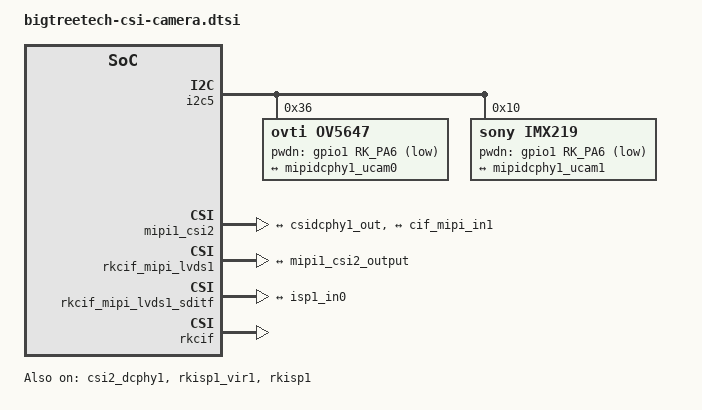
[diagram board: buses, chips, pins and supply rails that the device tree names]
// SPDX-License-Identifier: (GPL-2.0+ OR MIT)
/*
 * Copyright (c) 2021 Rockchip Electronics Co., Ltd.
 *
 */

&csi2_dcphy1 {
	status = "okay";

	ports {
		#address-cells = <1>;
		#size-cells = <0>;

		port@0 {
			reg = <0>;
			#address-cells = <1>;
			#size-cells = <0>;

			mipidcphy1_ucam0: endpoint@0 {
				reg = <0>;
				remote-endpoint = <&ov5647_out>;
				data-lanes = <1 2>;
			};

			mipidcphy1_ucam1: endpoint@1 {
				reg = <1>;
				remote-endpoint = <&imx219_out>;
				data-lanes = <1 2>;
			};
		};

		port@1 {
			reg = <1>;
			#address-cells = <1>;
			#size-cells = <0>;

			csidcphy1_out: endpoint@0 {
				reg = <0>;
				remote-endpoint = <&mipi1_csi2_input>;
			};
		};
	};
};

&i2c5 {
	status = "okay";
	pinctrl-names = "default";
	pinctrl-0 = <&i2c5m3_xfer>;

	ov5647: ov5647@36 {
		status = "okay";  
		compatible = "ovti,ov5647";
		reg = <0x36>;
		clocks = <&ext_cam_clk>;
		clock-names = "ext_cam_ov5647_clk";
		pwdn-gpios = <&gpio1 RK_PA6 GPIO_ACTIVE_LOW>;
		rockchip,camera-module-index = <1>;
		rockchip,camera-module-facing = "front";
		rockchip,camera-module-name = "LMM248";
		rockchip,camera-module-lens-name = "YXC-M804A2";
		
		port {
			ov5647_out: endpoint {
			        remote-endpoint = <&mipidcphy1_ucam0>;
			        data-lanes = <1 2>;
			};
		};
	};

	imx219: imx219@10 {

		status = "okay";  
		compatible = "sony,imx219";
		reg = <0x10>;
		clocks = <&ext_cam_clk_imx219>;
		clock-names = "ext_cam_clk_imx219";
		rockchip,camera-module-index = <1>;
		rockchip,camera-module-facing = "front";
		rockchip,camera-module-name = "rpi-camera-v2";
		rockchip,camera-module-lens-name = "default";
		pwdn-gpios = <&gpio1 RK_PA6 GPIO_ACTIVE_LOW>;	
		
		port {
			imx219_out: endpoint {
			        remote-endpoint = <&mipidcphy1_ucam1>;
			        data-lanes = <1 2>;
			};
		};
	};
};

&mipi1_csi2 {
	status = "okay";

	ports {
		#address-cells = <1>;
		#size-cells = <0>;

		port@0 {
			reg = <0>;
			#address-cells = <1>;
			#size-cells = <0>;

			mipi1_csi2_input: endpoint@1 {
				reg = <1>;
				remote-endpoint = <&csidcphy1_out>;
			};
		};

		port@1 {
			reg = <1>;
			#address-cells = <1>;
			#size-cells = <0>;

			mipi1_csi2_output: endpoint@0 {
				reg = <0>;
				remote-endpoint = <&cif_mipi_in1>;
			};
		};
	};
};

&rkcif_mipi_lvds1 {
	status = "okay";

	port {
		cif_mipi_in1: endpoint {
			remote-endpoint = <&mipi1_csi2_output>;
		};
	};
};

&rkcif_mipi_lvds1_sditf {
	status = "okay";

        port {
               mipi1_lvds_sditf: endpoint {
                    remote-endpoint = <&isp1_in0>;
                };
        };
};

&rkisp1_vir1 {
	status = "okay";

	port {
		#address-cells = <1>;
		#size-cells = <0>;

		isp1_in0: endpoint@0 {
			reg = <0>;
			remote-endpoint = <&mipi1_lvds_sditf>;
		};
	};
};

&rkcif{
	status = "okay";
};

&rkcif_mmu{
	status = "okay";
};
	
&rkisp1{
	status = "okay";

};

&isp1_mmu{
	status = "okay";
};
